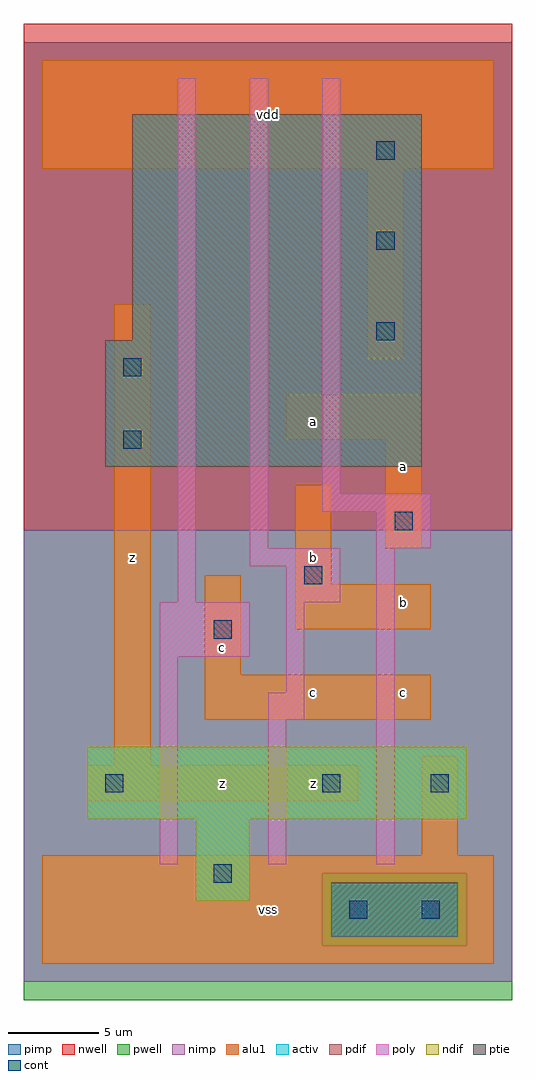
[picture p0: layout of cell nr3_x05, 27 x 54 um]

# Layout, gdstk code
import gdstk
lib = gdstk.Library(unit=1e-6, precision=1e-09)
def R(c, l, rs):  # rectangles x0, y0, x1, y1
    for r in rs: c.add(gdstk.rectangle(r[:2], r[2:], *l))
def A(c, l, x, y, w, h, nx, ny, dx, dy):  # array of equal rectangles
    R(c, l, [(x+i*dx, y+j*dy, x+i*dx+w, y+j*dy+h) for i in range(nx) for j in range(ny)])
ndif = (3, 0)
pdif = (4, 0)
ptie = (6, 0)
cont = (25, 0)
pwell = (41, 0)
nwell = (42, 0)
activ = (43, 0)
pimp = (44, 0)
nimp = (45, 0)
poly = (46, 0)
alu1 = (49, 0)

nr3_x05 = lib.new_cell('nr3_x05')
R(nr3_x05, ndif, [(8.5,3.5,11.5,8), (2.5,8,23.5,12)])
R(nr3_x05, pdif, [(3.5,27.5,21,34.5), (5,34.5,21,47)])
R(nr3_x05, ptie, [(16,1.5,23,4.5)])
A(nr3_x05, cont, 18.5, 34.5, 1, 1, 1, 3, 0, 5)
R(nr3_x05, cont, [(17,2.5,18,3.5), (21,2.5,22,3.5), (9.5,4.5,10.5,5.5), (3.5,9.5,4.5,10.5), (15.5,9.5,16.5,10.5), (21.5,9.5,22.5,10.5), (9.5,18,10.5,19), (14.5,21,15.5,22), (19.5,24,20.5,25), (4.5,28.5,5.5,29.5), (4.5,32.5,5.5,33.5)])
R(nr3_x05, pwell, [(-1,-2,26,24)])
R(nr3_x05, nwell, [(-1,24,26,52)])
R(nr3_x05, activ, [(16,1.5,23,4.5), (8.5,3.5,11.5,8), (2.5,8,23.5,12), (3.5,27.5,21,34.5), (5,34.5,21,47)])
R(nr3_x05, pimp, [(15.5,1,23.5,5), (-1,24,26,51)])
R(nr3_x05, nimp, [(-1,-1,26,1), (-1,1,15.5,5), (23.5,1,26,5), (-1,5,26,24)])
R(nr3_x05, poly, [(6.5,5.5,7.5,17), (12.5,5.5,13.5,13.5), (18.5,5.5,19.5,23), (12.5,13.5,14.5,15), (13.5,15,14.5,20), (6.5,17,11.5,20), (7.5,20,8.5,49), (13.5,20,16.5,22), (11.5,22,16.5,23), (11.5,23,12.5,49), (18.5,23,21.5,25), (15.5,25,21.5,26), (15.5,26,16.5,49)])
R(nr3_x05, alu1, [(0,0,25,6), (21,6,23,11.5), (2.5,9,17.5,11), (4,11,6,36.5), (9,13.5,21.5,16), (9,16,11,21.5), (14,18.5,21.5,21), (14,21,16,26.5), (19,23,21,29), (13.5,29,21,31.5), (18,33.5,20,44), (0,44,25,50)])
nr3_x05.add(gdstk.Label('z', (10,10), layer=49, texttype=0))
nr3_x05.add(gdstk.Label('z', (5,22.5), layer=49, texttype=0))
nr3_x05.add(gdstk.Label('c', (10,17.5), layer=49, texttype=0))
nr3_x05.add(gdstk.Label('vss', (12.5,3), layer=49, texttype=0))
nr3_x05.add(gdstk.Label('z', (15,10), layer=49, texttype=0))
nr3_x05.add(gdstk.Label('b', (15,22.5), layer=49, texttype=0))
nr3_x05.add(gdstk.Label('c', (15,15), layer=49, texttype=0))
nr3_x05.add(gdstk.Label('a', (15,30), layer=49, texttype=0))
nr3_x05.add(gdstk.Label('vdd', (12.5,47), layer=49, texttype=0))
nr3_x05.add(gdstk.Label('b', (20,20), layer=49, texttype=0))
nr3_x05.add(gdstk.Label('c', (20,15), layer=49, texttype=0))
nr3_x05.add(gdstk.Label('a', (20,27.5), layer=49, texttype=0))

lib.write_gds('nr3_x05.gds')
